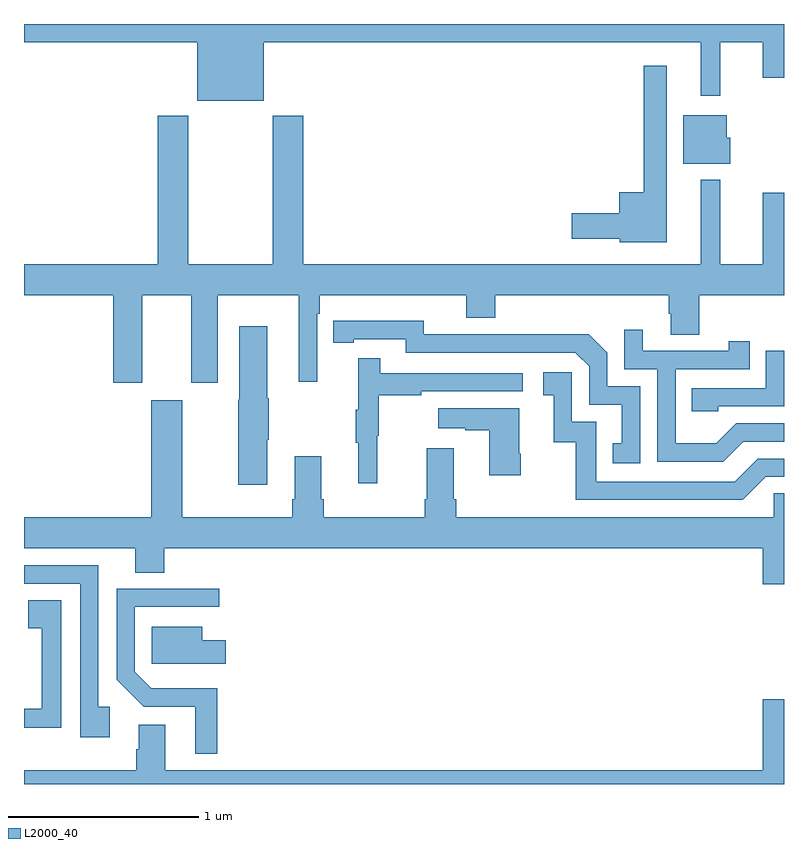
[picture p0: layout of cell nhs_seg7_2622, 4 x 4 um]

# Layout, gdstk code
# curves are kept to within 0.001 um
import gdstk
lib = gdstk.Library(unit=1e-6, precision=1e-09)
def P(c, l, *ps):  # polygons
    for p in ps: c.add(gdstk.Polygon(p, *l))
L2000_40 = (2000, 40)

nhs_seg7_2622 = lib.new_cell('nhs_seg7_2622')
P(nhs_seg7_2622, L2000_40, [(282.262,1045.904),(284.561,1045.904),(284.561,1045.623),(284.665,1045.623),(284.665,1045.904),(284.888,1045.904),(284.888,1045.716),(285,1045.716),(285,1046),(281,1046),(281,1045.904),(281.912,1045.904),(281.912,1045.595),(282.262,1045.595)],
  [(284.383,1045.78),(284.262,1045.78),(284.262,1045.114),(284.132,1045.114),(284.132,1045.004),(283.884,1045.004),(283.884,1044.869),(284.136,1044.869),(284.136,1044.851),(284.383,1044.851)],
  [(284.716,1045.401),(284.698,1045.401),(284.698,1045.519),(284.471,1045.519),(284.471,1045.265),(284.716,1045.265)],
  [(281,1044.572),(281.471,1044.572),(281.471,1044.111),(281.623,1044.111),(281.623,1044.572),(281.879,1044.572),(281.879,1044.111),(282.019,1044.111),(282.019,1044.572),(282.446,1044.572),(282.446,1044.117),(282.543,1044.117),(282.543,1044.476),(282.557,1044.476),(282.557,1044.572),(283.328,1044.572),(283.328,1044.455),(283.481,1044.455),(283.481,1044.572),(284.393,1044.572),(284.393,1044.474),(284.405,1044.474),(284.405,1044.364),(284.553,1044.364),(284.553,1044.572),(285,1044.572),(285,1045.111),(284.888,1045.111),(284.888,1044.736),(284.665,1044.736),(284.665,1045.18),(284.561,1045.18),(284.561,1044.736),(282.47,1044.736),(282.47,1045.516),(282.31,1045.516),(282.31,1044.736),(281.865,1044.736),(281.865,1045.516),(281.705,1045.516),(281.705,1044.736),(281,1044.736)],
  [(284.244,1044.093),(284.07,1044.093),(284.07,1044.27),(283.972,1044.368),(283.564,1044.368),(283.564,1044.366),(283.104,1044.366),(283.104,1044.439),(282.628,1044.438),(282.628,1044.322),(282.736,1044.322),(282.736,1044.342),(283.008,1044.342),(283.008,1044.27),(283.902,1044.27),(283.974,1044.198),(283.974,1043.997),(284.147,1043.997),(284.147,1043.793),(284.098,1043.793),(284.098,1043.688),(284.244,1043.688)],
  [(282.28,1043.812),(282.288,1043.812),(282.288,1044.029),(282.28,1044.029),(282.28,1044.409),(282.134,1044.409),(282.134,1044.023),(282.127,1044.023),(282.127,1043.574),(282.28,1043.574)],
  [(284.785,1043.802),(285,1043.802),(285,1043.898),(284.748,1043.898),(284.644,1043.794),(284.43,1043.794),(284.43,1044.183),(284.819,1044.183),(284.819,1044.331),(284.708,1044.331),(284.708,1044.279),(284.257,1044.279),(284.257,1044.391),(284.16,1044.391),(284.16,1044.183),(284.334,1044.183),(284.334,1043.697),(284.68,1043.697)],
  [(284.655,1043.988),(285,1043.988),(285,1044.279),(284.904,1044.279),(284.904,1044.084),(284.515,1044.084),(284.515,1043.961),(284.655,1043.961)],
  [(282.86,1043.832),(282.868,1043.832),(282.868,1044.046),(283.091,1044.046),(283.091,1044.066),(283.624,1044.066),(283.624,1044.162),(282.875,1044.162),(282.875,1044.241),(282.758,1044.241),(282.758,1043.969),(282.747,1043.969),(282.747,1043.795),(282.758,1043.795),(282.758,1043.583),(282.86,1043.583)],
  [(284.904,1043.616),(285,1043.616),(285,1043.712),(284.862,1043.712),(284.742,1043.592),(284.013,1043.592),(284.013,1043.907),(283.884,1043.907),(283.884,1044.166),(283.734,1044.166),(283.734,1044.045),(283.787,1044.045),(283.787,1043.799),(283.905,1043.799),(283.905,1043.496),(284.784,1043.496)],
  [(284.888,1043.052),(285,1043.052),(285,1043.531),(284.946,1043.531),(284.946,1043.404),(283.274,1043.404),(283.274,1043.5),(283.261,1043.5),(283.261,1043.767),(283.121,1043.767),(283.121,1043.5),(283.109,1043.5),(283.109,1043.404),(282.578,1043.404),(282.578,1043.5),(282.565,1043.5),(282.565,1043.725),(282.425,1043.725),(282.425,1043.5),(282.413,1043.5),(282.413,1043.404),(281.833,1043.404),(281.833,1044.019),(281.669,1044.019),(281.669,1043.404),(281,1043.404),(281,1043.24),(281.585,1043.24),(281.585,1043.113),(281.738,1043.113),(281.738,1043.24),(284.888,1043.24)],
  [(283.614,1043.737),(283.606,1043.737),(283.606,1043.977),(283.179,1043.977),(283.179,1043.873),(283.322,1043.873),(283.322,1043.863),(283.448,1043.863),(283.448,1043.625),(283.614,1043.625)],
  [(281.452,1042.406),(281.391,1042.406),(281.391,1043.151),(281,1043.151),(281,1043.055),(281.295,1043.055),(281.295,1042.245),(281.452,1042.245)],
  [(282.017,1042.504),(281.669,1042.504),(281.583,1042.59),(281.583,1042.932),(282.028,1042.932),(282.028,1043.028),(281.487,1043.028),(281.487,1042.55),(281.63,1042.407),(281.9,1042.407),(281.9,1042.158),(282.017,1042.158)],
  [(281.197,1042.966),(281.023,1042.966),(281.023,1042.82),(281.093,1042.82),(281.093,1042.395),(281,1042.395),(281,1042.297),(281.197,1042.297)],
  [(282.061,1042.756),(281.938,1042.756),(281.938,1042.828),(281.673,1042.828),(281.673,1042.634),(282.061,1042.634)],
  [(285,1042.447),(284.888,1042.447),(284.888,1042.072),(281.743,1042.072),(281.743,1042.312),(281.603,1042.312),(281.603,1042.184),(281.591,1042.184),(281.591,1042.072),(281,1042.072),(281,1042),(285,1042)])

lib.write_gds('nhs_seg7_2622.gds')
